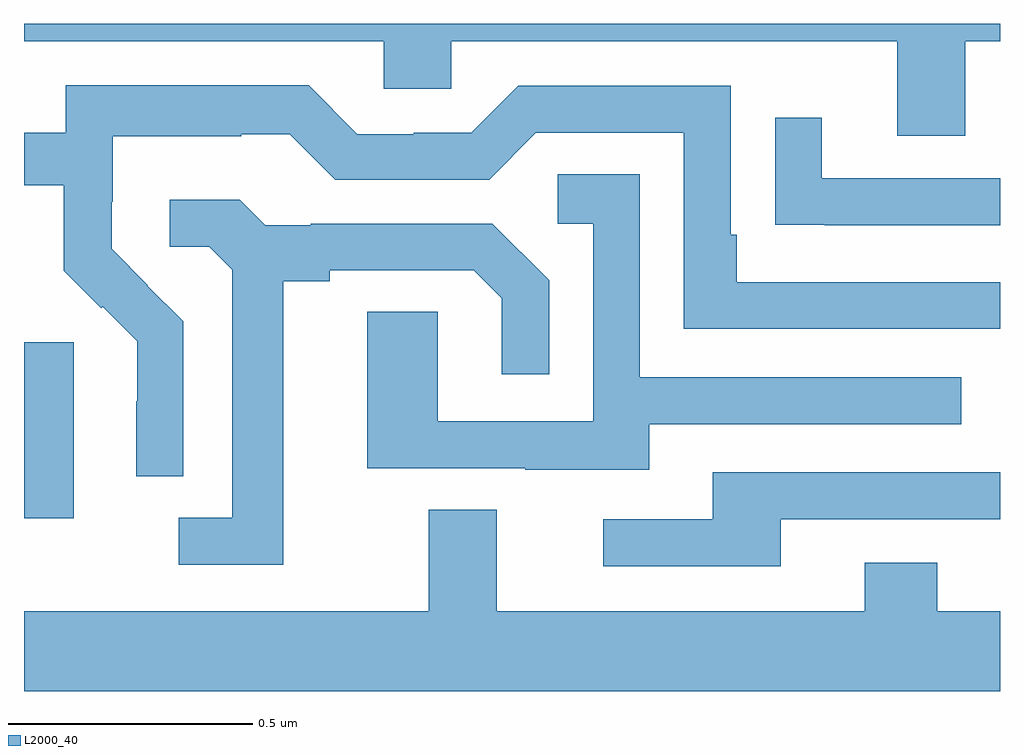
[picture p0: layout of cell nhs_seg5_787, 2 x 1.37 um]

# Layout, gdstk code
import gdstk
lib = gdstk.Library(unit=1e-6, precision=1e-09)
def R(c, l, rs):  # rectangles x0, y0, x1, y1
    for r in rs: c.add(gdstk.rectangle(r[:2], r[2:], *l))
def P(c, l, *ps):  # polygons
    for p in ps: c.add(gdstk.Polygon(p, *l))
L2000_40 = (2000, 40)

nhs_seg5_787 = lib.new_cell('nhs_seg5_787')
R(nhs_seg5_787, L2000_40, [(121,851.786,121.102,852.147)])
P(nhs_seg5_787, L2000_40, [(122.929,852.764),(123,852.764),(123,852.799),(121,852.799),(121,852.764),(121.737,852.764),(121.737,852.666),(121.875,852.666),(121.875,852.764),(122.789,852.764),(122.789,852.57),(122.929,852.57)],
  [(121.326,852.19),(121.253,852.263),(121.254,852.264),(121.18,852.338),(121.18,852.435),(121.182,852.435),(121.182,852.569),(121.445,852.569),(121.445,852.573),(121.545,852.573),(121.638,852.48),(121.953,852.48),(122.049,852.576),(122.352,852.576),(122.352,852.174),(123,852.174),(123,852.27),(122.461,852.27),(122.461,852.367),(122.448,852.367),(122.448,852.672),(122.013,852.672),(121.917,852.576),(121.799,852.576),(121.799,852.573),(121.683,852.573),(121.583,852.673),(121.086,852.673),(121.086,852.576),(121,852.576),(121,852.468),(121.081,852.468),(121.081,852.293),(121.158,852.216),(121.161,852.219),(121.232,852.149),(121.232,852.026),(121.23,852.026),(121.23,851.872),(121.326,851.872)],
  [(123,852.483),(122.635,852.483),(122.635,852.607),(122.539,852.607),(122.539,852.388),(122.641,852.388),(122.641,852.387),(123,852.387)],
  [(122.281,851.979),(122.921,851.979),(122.921,852.075),(122.262,852.075),(122.262,852.491),(122.094,852.491),(122.094,852.39),(122.166,852.39),(122.166,851.985),(121.848,851.985),(121.848,852.209),(121.703,852.209),(121.703,851.889),(122.027,851.889),(122.027,851.885),(122.281,851.885)],
  [(121.531,852.272),(121.627,852.272),(121.627,852.294),(121.922,852.294),(121.979,852.237),(121.979,852.081),(122.076,852.081),(122.076,852.274),(121.96,852.39),(121.588,852.39),(121.588,852.387),(121.494,852.387),(121.442,852.439),(121.299,852.439),(121.299,852.342),(121.38,852.342),(121.427,852.295),(121.427,851.787),(121.317,851.787),(121.317,851.691),(121.531,851.691)],
  [(122.551,851.784),(123,851.784),(123,851.88),(122.411,851.88),(122.411,851.784),(122.187,851.784),(122.187,851.688),(122.551,851.688)],
  [(123,851.596),(122.871,851.596),(122.871,851.695),(122.723,851.695),(122.723,851.596),(121.969,851.596),(121.969,851.804),(121.829,851.804),(121.829,851.596),(121,851.596),(121,851.432),(123,851.432)])

lib.write_gds('nhs_seg5_787.gds')
